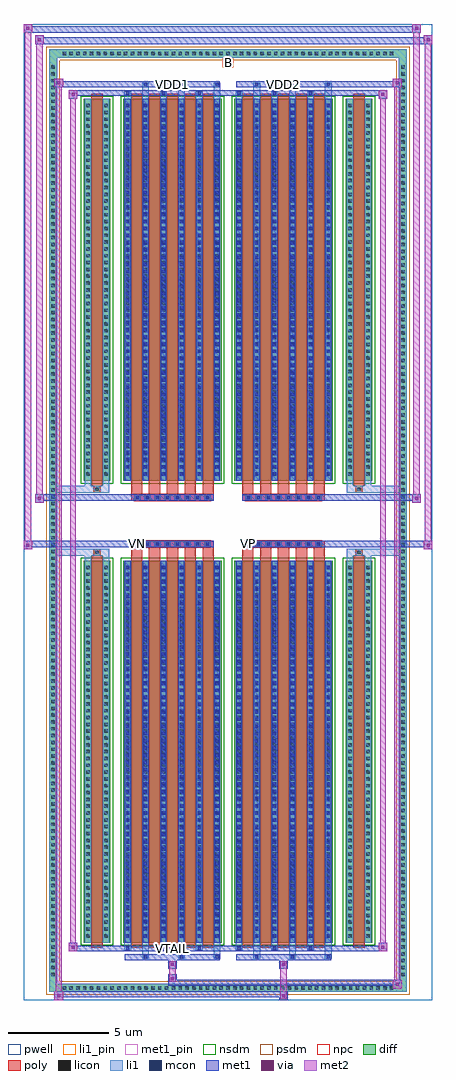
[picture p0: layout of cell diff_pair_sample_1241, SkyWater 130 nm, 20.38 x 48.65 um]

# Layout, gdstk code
import gdstk
lib = gdstk.Library(unit=1e-6, precision=5e-09)
def R(c, l, rs):  # rectangles x0, y0, x1, y1
    for r in rs: c.add(gdstk.rectangle(r[:2], r[2:], *l))
def A(c, l, x, y, w, h, nx, ny, dx, dy):  # array of equal rectangles
    R(c, l, [(x+i*dx, y+j*dy, x+i*dx+w, y+j*dy+h) for i in range(nx) for j in range(ny)])
def P(c, l, *ps):  # polygons
    for p in ps: c.add(gdstk.Polygon(p, *l))
pwell = (64, 44)
diff = (65, 20)
poly = (66, 20)
licon = (66, 44)
li1_pin = (67, 16)
li1 = (67, 20)
mcon = (67, 44)
met1_pin = (68, 16)
met1 = (68, 20)
via = (68, 44)
met2 = (69, 20)
nsdm = (93, 44)
psdm = (94, 20)
npc = (95, 20)

diff_pair_sample_1241 = lib.new_cell('diff_pair_sample_1241')
R(diff_pair_sample_1241, pwell, [(-10.19,-23.89,10.19,24.76), (-7.51,-22.08,-0.01,-0.8), (0.01,-22.08,7.51,-0.8), (-7.51,0.8,-0.01,22.08), (0.01,0.8,7.51,22.08)])
A(diff_pair_sample_1241, diff, -8.365, -23.49, 0.41, 0.41, 49, 2, 0.34, 46.57)
A(diff_pair_sample_1241, diff, -8.92, -22.815, 0.41, 0.41, 1, 134, 0, 0.34)
A(diff_pair_sample_1241, diff, 8.51, -22.815, 0.41, 0.41, 1, 134, 0, 0.34)
R(diff_pair_sample_1241, diff, [(-8.365,-23.49,8.365,-23.08), (-8.92,-22.815,-8.51,22.815), (8.51,-22.815,8.92,22.815), (-7.2,-21.035,-5.86,-1.985), (-5.22,-21.035,-0.32,-1.985), (0.32,-21.035,5.22,-1.985), (5.86,-21.035,7.2,-1.985), (-7.2,1.985,-5.86,21.035), (-5.22,1.985,-0.32,21.035), (0.32,1.985,5.22,21.035), (5.86,1.985,7.2,21.035), (-8.365,23.08,8.365,23.49)])
P(diff_pair_sample_1241, diff, [(8.92,23.49),(-8.92,23.49),(-8.92,-23.08),(-8.51,-23.08),(-8.51,23.08),(8.51,23.08),(8.51,-23.08),(-8.51,-23.08),(-8.92,-23.08),(-8.92,-23.49),(8.92,-23.49)])
A(diff_pair_sample_1241, poly, -4.83, -21.285, 0.56, 19.55, 5, 2, 0.89, 23.02)
A(diff_pair_sample_1241, poly, 0.71, -21.285, 0.56, 19.55, 5, 2, 0.89, 23.02)
A(diff_pair_sample_1241, poly, -4.83, -1.735, 0.56, 0.405, 5, 2, 0.89, 3.065)
A(diff_pair_sample_1241, poly, 0.71, -1.735, 0.56, 0.405, 5, 2, 0.89, 3.065)
A(diff_pair_sample_1241, poly, -4.685, -1.33, 0.33, 0.33, 8, 2, 0.5, 2.33)
A(diff_pair_sample_1241, poly, 0.855, -1.33, 0.33, 0.33, 8, 2, 0.5, 2.33)
R(diff_pair_sample_1241, poly, [(-6.81,-21.285,-6.25,-1.735), (6.25,-21.285,6.81,-1.735), (-6.695,-1.735,-6.365,-1.405), (-6.695,-1.735,-6.365,-1.405), (6.365,-1.735,6.695,-1.405), (6.365,-1.735,6.695,-1.405), (-4.83,-1.33,-0.71,-1), (0.71,-1.33,4.83,-1), (-4.83,1,-0.71,1.33), (0.71,1,4.83,1.33), (-6.695,1.405,-6.365,1.735), (-6.695,1.405,-6.365,1.735), (6.365,1.405,6.695,1.735), (6.365,1.405,6.695,1.735), (-6.81,1.735,-6.25,21.285), (6.25,1.735,6.81,21.285)])
A(diff_pair_sample_1241, licon, -8.245, -23.37, 0.17, 0.17, 49, 2, 0.34, 46.57)
A(diff_pair_sample_1241, licon, -8.8, -22.695, 0.17, 0.17, 1, 134, 0, 0.34)
A(diff_pair_sample_1241, licon, 8.63, -22.695, 0.17, 0.17, 1, 134, 0, 0.34)
A(diff_pair_sample_1241, licon, -7.06, -20.775, 0.17, 0.17, 1, 55, 0, 0.34)
A(diff_pair_sample_1241, licon, -6.17, -20.775, 0.17, 0.17, 1, 55, 0, 0.34)
A(diff_pair_sample_1241, licon, -5.08, -20.775, 0.17, 0.17, 6, 55, 0.89, 0.34)
A(diff_pair_sample_1241, licon, 0.46, -20.775, 0.17, 0.17, 6, 55, 0.89, 0.34)
A(diff_pair_sample_1241, licon, 6, -20.775, 0.17, 0.17, 1, 55, 0, 0.34)
A(diff_pair_sample_1241, licon, 6.89, -20.775, 0.17, 0.17, 1, 55, 0, 0.34)
A(diff_pair_sample_1241, licon, -4.605, -1.25, 0.17, 0.17, 8, 2, 0.5, 2.33)
A(diff_pair_sample_1241, licon, 0.935, -1.25, 0.17, 0.17, 8, 2, 0.5, 2.33)
A(diff_pair_sample_1241, licon, -7.06, 2.245, 0.17, 0.17, 1, 55, 0, 0.34)
A(diff_pair_sample_1241, licon, -6.17, 2.245, 0.17, 0.17, 1, 55, 0, 0.34)
A(diff_pair_sample_1241, licon, -5.08, 2.245, 0.17, 0.17, 6, 55, 0.89, 0.34)
A(diff_pair_sample_1241, licon, 0.46, 2.245, 0.17, 0.17, 6, 55, 0.89, 0.34)
A(diff_pair_sample_1241, licon, 6, 2.245, 0.17, 0.17, 1, 55, 0, 0.34)
A(diff_pair_sample_1241, licon, 6.89, 2.245, 0.17, 0.17, 1, 55, 0, 0.34)
R(diff_pair_sample_1241, licon, [(-6.615,-1.655,-6.445,-1.485), (6.445,-1.655,6.615,-1.485), (-6.615,1.485,-6.445,1.655), (6.445,1.485,6.615,1.655)])
R(diff_pair_sample_1241, li1_pin, [(-0.25,22.58,0.25,23.08)])
A(diff_pair_sample_1241, li1, -8.325, -23.45, 0.33, 0.33, 49, 2, 0.34, 46.57)
A(diff_pair_sample_1241, li1, -8.88, -22.775, 0.33, 0.33, 1, 134, 0, 0.34)
A(diff_pair_sample_1241, li1, 8.55, -22.775, 0.33, 0.33, 1, 134, 0, 0.34)
A(diff_pair_sample_1241, li1, -4.27, -21.84, 0.33, 0.805, 3, 2, 1.78, 42.875)
A(diff_pair_sample_1241, li1, -4.19, -21.84, 0.17, 0.17, 3, 2, 1.78, 43.51)
A(diff_pair_sample_1241, li1, 1.27, -21.84, 0.33, 0.805, 3, 2, 1.78, 42.875)
A(diff_pair_sample_1241, li1, 1.35, -21.84, 0.17, 0.17, 3, 2, 1.78, 43.51)
A(diff_pair_sample_1241, li1, -5.16, -21.41, 0.33, 0.375, 3, 2, 1.78, 42.445)
A(diff_pair_sample_1241, li1, -5.08, -21.41, 0.17, 0.17, 3, 2, 1.78, 42.65)
A(diff_pair_sample_1241, li1, 0.38, -21.41, 0.33, 0.375, 3, 2, 1.78, 42.445)
A(diff_pair_sample_1241, li1, 0.46, -21.41, 0.17, 0.17, 3, 2, 1.78, 42.65)
A(diff_pair_sample_1241, li1, -5.16, -21.035, 0.33, 19.05, 6, 2, 0.89, 23.02)
A(diff_pair_sample_1241, li1, 0.38, -21.035, 0.33, 19.05, 6, 2, 0.89, 23.02)
A(diff_pair_sample_1241, li1, -7.14, -20.855, 0.33, 0.33, 1, 55, 0, 0.34)
A(diff_pair_sample_1241, li1, -6.25, -20.855, 0.33, 0.33, 1, 55, 0, 0.34)
A(diff_pair_sample_1241, li1, -5.16, -20.855, 0.33, 0.33, 6, 55, 0.89, 0.34)
A(diff_pair_sample_1241, li1, 0.38, -20.855, 0.33, 0.33, 6, 55, 0.89, 0.34)
A(diff_pair_sample_1241, li1, 5.92, -20.855, 0.33, 0.33, 1, 55, 0, 0.34)
A(diff_pair_sample_1241, li1, 6.81, -20.855, 0.33, 0.33, 1, 55, 0, 0.34)
A(diff_pair_sample_1241, li1, -5.08, -20.775, 0.17, 0.17, 6, 52, 0.89, 0.36)
A(diff_pair_sample_1241, li1, -5.08, -20.775, 0.17, 18.53, 6, 2, 0.89, 23.02)
A(diff_pair_sample_1241, li1, 0.46, -20.775, 0.17, 0.17, 6, 52, 0.89, 0.36)
A(diff_pair_sample_1241, li1, 0.46, -20.775, 0.17, 18.53, 6, 2, 0.89, 23.02)
A(diff_pair_sample_1241, li1, -4.685, -1.33, 0.33, 0.33, 8, 2, 0.5, 2.33)
A(diff_pair_sample_1241, li1, 0.855, -1.33, 0.33, 0.33, 8, 2, 0.5, 2.33)
A(diff_pair_sample_1241, li1, -7.14, 2.165, 0.33, 0.33, 1, 55, 0, 0.34)
A(diff_pair_sample_1241, li1, -6.25, 2.165, 0.33, 0.33, 1, 55, 0, 0.34)
A(diff_pair_sample_1241, li1, -5.16, 2.165, 0.33, 0.33, 6, 55, 0.89, 0.34)
A(diff_pair_sample_1241, li1, 0.38, 2.165, 0.33, 0.33, 6, 55, 0.89, 0.34)
A(diff_pair_sample_1241, li1, 5.92, 2.165, 0.33, 0.33, 1, 55, 0, 0.34)
A(diff_pair_sample_1241, li1, 6.81, 2.165, 0.33, 0.33, 1, 55, 0, 0.34)
A(diff_pair_sample_1241, li1, -5.08, 2.245, 0.17, 0.17, 6, 52, 0.89, 0.36)
A(diff_pair_sample_1241, li1, 0.46, 2.245, 0.17, 0.17, 6, 52, 0.89, 0.36)
R(diff_pair_sample_1241, li1, [(-8.92,-23.49,-8.51,-23.08), (-8.92,-23.49,-8.51,-23.08), (-8.51,-23.49,8.51,-23.08), (8.51,-23.49,8.92,-23.08), (8.51,-23.49,8.92,-23.08), (-8.92,-23.08,-8.51,23.08), (8.51,-23.08,8.92,23.08), (-7.14,-21.035,-6.81,-1.985), (-6.25,-21.035,-5.92,-1.985), (5.92,-21.035,6.25,-1.985), (6.81,-21.035,7.14,-1.985), (-7.14,-1.985,-6.81,-1.405), (-6.25,-1.985,-5.92,-1.405), (5.92,-1.985,6.25,-1.405), (6.81,-1.985,7.14,-1.405), (-8.92,-1.735,-6.695,-1.405), (-7.14,-1.735,-6.695,-1.405), (-6.695,-1.735,-6.365,-1.405), (-6.365,-1.735,-5.92,-1.405), (5.92,-1.735,6.365,-1.405), (6.365,-1.735,6.695,-1.405), (6.365,-1.735,8.92,-1.405), (6.695,-1.735,7.14,-1.405), (-8.92,1.405,-6.695,1.735), (-7.14,1.405,-6.695,1.735), (-7.14,1.405,-6.81,1.985), (-6.695,1.405,-6.365,1.735), (-6.365,1.405,-5.92,1.735), (-6.25,1.405,-5.92,1.985), (5.92,1.405,6.365,1.735), (5.92,1.405,6.25,1.985), (6.365,1.405,6.695,1.735), (6.365,1.405,8.92,1.735), (6.695,1.405,7.14,1.735), (6.81,1.405,7.14,1.985), (-7.14,1.985,-6.81,21.035), (-6.25,1.985,-5.92,21.035), (5.92,1.985,6.25,21.035), (6.81,1.985,7.14,21.035), (-8.92,23.08,-8.51,23.49), (-8.92,23.08,-8.51,23.49), (-8.51,23.08,8.51,23.49), (8.51,23.08,8.92,23.49), (8.51,23.08,8.92,23.49)])
A(diff_pair_sample_1241, mcon, -4.19, -21.84, 0.17, 0.17, 3, 2, 1.78, 43.51)
A(diff_pair_sample_1241, mcon, 1.35, -21.84, 0.17, 0.17, 3, 2, 1.78, 43.51)
A(diff_pair_sample_1241, mcon, -5.08, -21.41, 0.17, 0.17, 3, 2, 1.78, 42.65)
A(diff_pair_sample_1241, mcon, 0.46, -21.41, 0.17, 0.17, 3, 2, 1.78, 42.65)
A(diff_pair_sample_1241, mcon, -5.08, -20.775, 0.17, 0.17, 6, 52, 0.89, 0.36)
A(diff_pair_sample_1241, mcon, 0.46, -20.775, 0.17, 0.17, 6, 52, 0.89, 0.36)
A(diff_pair_sample_1241, mcon, -4.605, -1.25, 0.17, 0.17, 8, 2, 0.5, 2.33)
A(diff_pair_sample_1241, mcon, 0.935, -1.25, 0.17, 0.17, 8, 2, 0.5, 2.33)
A(diff_pair_sample_1241, mcon, -5.08, 2.245, 0.17, 0.17, 6, 52, 0.89, 0.36)
A(diff_pair_sample_1241, mcon, 0.46, 2.245, 0.17, 0.17, 6, 52, 0.89, 0.36)
R(diff_pair_sample_1241, met1_pin, [(-2.905,-21.45,-2.635,-21.18), (-4.655,-1.29,-4.385,-1.02), (0.885,-1.29,1.155,-1.02), (-2.905,21.63,-2.635,21.9), (2.635,21.63,2.905,21.9)])
A(diff_pair_sample_1241, met1, -4.25, -21.9, 0.29, 0.29, 3, 2, 1.78, 43.51)
A(diff_pair_sample_1241, met1, 1.29, -21.9, 0.29, 0.29, 3, 2, 1.78, 43.51)
A(diff_pair_sample_1241, met1, -5.14, -21.47, 0.29, 0.29, 3, 2, 1.78, 42.65)
A(diff_pair_sample_1241, met1, 0.4, -21.47, 0.29, 0.29, 3, 2, 1.78, 42.65)
A(diff_pair_sample_1241, met1, -5.14, -21.035, 0.29, 19.05, 6, 2, 0.89, 23.02)
A(diff_pair_sample_1241, met1, 0.4, -21.035, 0.29, 19.05, 6, 2, 0.89, 23.02)
A(diff_pair_sample_1241, met1, -5.14, -20.835, 0.29, 0.29, 6, 52, 0.89, 0.36)
A(diff_pair_sample_1241, met1, 0.4, -20.835, 0.29, 0.29, 6, 52, 0.89, 0.36)
A(diff_pair_sample_1241, met1, -4.665, -1.31, 0.29, 0.29, 8, 2, 0.5, 2.33)
A(diff_pair_sample_1241, met1, 0.875, -1.31, 0.29, 0.29, 8, 2, 0.5, 2.33)
A(diff_pair_sample_1241, met1, -5.14, 2.185, 0.29, 0.29, 6, 52, 0.89, 0.36)
A(diff_pair_sample_1241, met1, 0.4, 2.185, 0.29, 0.29, 6, 52, 0.89, 0.36)
R(diff_pair_sample_1241, met1, [(-8.65,-23.89,-8.22,-23.46), (2.555,-23.89,2.985,-23.46), (-8.65,-23.75,2.985,-23.46), (8.22,-23.32,8.65,-22.89), (-2.985,-23.18,8.65,-22.89), (-2.985,-23.04,-2.555,-22.61), (-2.985,-22.33,-2.555,-21.9), (2.555,-22.33,2.985,-21.9), (-5.14,-21.9,-0.4,-21.61), (0.4,-21.9,5.14,-21.61), (-7.94,-21.47,-7.51,-21.04), (-7.94,-21.47,-5.14,-21.18), (-5.14,-21.47,-0.4,-21.18), (-0.4,-21.47,0.4,-21.18), (0.4,-21.47,5.14,-21.18), (5.14,-21.47,7.94,-21.18), (7.51,-21.47,7.94,-21.04), (-10.19,-1.43,-9.76,-1), (9.76,-1.43,10.19,-1), (-10.19,-1.33,-0.71,-1), (-4.83,-1.33,-0.71,-1), (0.71,-1.33,4.83,-1), (0.71,-1.33,10.19,-1), (-9.62,0.9,-9.19,1.33), (9.19,0.9,9.62,1.33), (-9.62,1,-4.83,1.33), (-4.83,1,-0.71,1.33), (0.71,1,4.83,1.33), (4.83,1,9.62,1.33), (-7.94,21.04,-7.51,21.47), (7.51,21.04,7.94,21.47), (-7.94,21.18,-5.14,21.47), (-5.14,21.18,-0.4,21.47), (-0.4,21.18,0.4,21.47), (0.4,21.18,5.14,21.47), (5.14,21.18,7.94,21.47), (-8.65,21.61,-8.22,22.04), (-8.65,21.61,-5.14,21.9), (-5.14,21.61,-0.4,21.9), (0.4,21.61,5.14,21.9), (5.14,21.61,8.65,21.9), (8.22,21.61,8.65,22.04), (-9.62,23.76,-9.19,24.19), (-9.62,23.76,-7.51,24.09), (-7.51,23.76,7.51,24.09), (7.51,23.76,10.19,24.09), (9.76,23.76,10.19,24.19), (-10.19,24.33,-9.76,24.76), (-10.19,24.33,-7.51,24.66), (-7.51,24.33,7.51,24.66), (7.51,24.33,9.62,24.66), (9.19,24.33,9.62,24.76)])
R(diff_pair_sample_1241, via, [(-8.51,-23.75,-8.36,-23.6), (2.695,-23.75,2.845,-23.6), (8.36,-23.18,8.51,-23.03), (-2.845,-22.9,-2.695,-22.75), (-2.845,-22.19,-2.695,-22.04), (2.695,-22.19,2.845,-22.04), (-7.8,-21.33,-7.65,-21.18), (7.65,-21.33,7.8,-21.18), (-10.05,-1.29,-9.9,-1.14), (9.9,-1.29,10.05,-1.14), (-9.48,1.04,-9.33,1.19), (9.33,1.04,9.48,1.19), (-7.8,21.18,-7.65,21.33), (7.65,21.18,7.8,21.33), (-8.51,21.75,-8.36,21.9), (8.36,21.75,8.51,21.9), (-9.48,23.9,-9.33,24.05), (9.9,23.9,10.05,24.05), (-10.05,24.47,-9.9,24.62), (9.33,24.47,9.48,24.62)])
R(diff_pair_sample_1241, met2, [(-8.65,-23.89,-8.22,-23.46), (-8.58,-23.89,-8.29,22.04), (-8.29,-23.89,-8.22,-23.46), (-8.6,-23.84,-8.27,-23.51), (2.605,-23.84,2.935,-23.51), (2.605,-23.51,2.935,-22.28), (8.22,-23.32,8.65,-22.89), (8.29,-23.32,8.58,22.04), (8.58,-23.32,8.65,-22.89), (8.27,-23.27,8.6,-22.94), (-2.935,-22.99,-2.605,-22.66), (-2.935,-22.66,-2.605,-22.28), (-2.935,-22.28,-2.605,-21.95), (2.605,-22.28,2.935,-21.95), (-7.94,-21.47,-7.51,-21.04), (-7.87,-21.47,-7.58,21.47), (-7.58,-21.47,-7.51,-21.04), (7.51,-21.47,7.94,-21.04), (7.58,-21.47,7.87,21.47), (7.87,-21.47,7.94,-21.04), (-7.89,-21.42,-7.56,-21.09), (7.56,-21.42,7.89,-21.09), (-10.19,-1.43,-9.76,-1), (-10.14,-1.43,-9.81,24.76), (-9.81,-1.43,-9.76,-1), (9.76,-1.43,10.19,-1), (9.81,-1.43,10.14,24.19), (10.14,-1.43,10.19,-1), (-10.14,-1.38,-9.81,-1.05), (9.81,-1.38,10.14,-1.05), (-9.62,0.9,-9.19,1.33), (-9.57,0.9,-9.24,24.19), (-9.24,0.9,-9.19,1.33), (9.19,0.9,9.62,1.33), (9.24,0.9,9.57,24.76), (9.57,0.9,9.62,1.33), (-9.57,0.95,-9.24,1.28), (9.24,0.95,9.57,1.28), (-7.94,21.04,-7.51,21.47), (-7.58,21.04,-7.51,21.47), (7.51,21.04,7.94,21.47), (7.87,21.04,7.94,21.47), (-7.89,21.09,-7.56,21.42), (7.56,21.09,7.89,21.42), (-8.65,21.61,-8.22,22.04), (-8.29,21.61,-8.22,22.04), (8.22,21.61,8.65,22.04), (8.58,21.61,8.65,22.04), (-8.6,21.66,-8.27,21.99), (8.27,21.66,8.6,21.99), (-9.62,23.76,-9.19,24.19), (-9.24,23.76,-9.19,24.19), (9.76,23.76,10.19,24.19), (10.14,23.76,10.19,24.19), (-9.57,23.81,-9.24,24.14), (9.81,23.81,10.14,24.14), (-10.19,24.33,-9.76,24.76), (-9.81,24.33,-9.76,24.76), (9.19,24.33,9.62,24.76), (9.57,24.33,9.62,24.76), (-10.14,24.38,-9.81,24.71), (9.24,24.38,9.57,24.71)])
R(diff_pair_sample_1241, nsdm, [(-7.33,-21.165,-5.73,-1.855), (-5.35,-21.165,-0.19,-1.855), (0.19,-21.165,5.35,-1.855), (5.73,-21.165,7.33,-1.855), (-7.33,1.855,-5.73,21.165), (-5.35,1.855,-0.19,21.165), (0.19,1.855,5.35,21.165), (5.73,1.855,7.33,21.165)])
P(diff_pair_sample_1241, psdm, [(9.05,23.62),(-9.05,23.62),(-9.05,-22.95),(-8.38,-22.95),(-8.38,22.95),(8.38,22.95),(8.38,-22.95),(-8.38,-22.95),(-9.05,-22.95),(-9.05,-23.62),(9.05,-23.62)])
A(diff_pair_sample_1241, npc, -4.705, -1.35, 0.37, 0.37, 8, 2, 0.5, 2.33)
A(diff_pair_sample_1241, npc, 0.835, -1.35, 0.37, 0.37, 8, 2, 0.5, 2.33)
R(diff_pair_sample_1241, npc, [(-6.715,-1.755,-6.345,-1.385), (6.345,-1.755,6.715,-1.385), (-4.705,-1.35,-3.835,-0.98), (-4.705,-1.35,-3.835,-0.98), (-4.205,-1.35,-3.335,-0.98), (-4.205,-1.35,-3.335,-0.98), (-3.705,-1.35,-2.835,-0.98), (-3.705,-1.35,-2.835,-0.98), (-3.205,-1.35,-2.335,-0.98), (-3.205,-1.35,-2.335,-0.98), (-2.705,-1.35,-1.835,-0.98), (-2.705,-1.35,-1.835,-0.98), (-2.205,-1.35,-1.335,-0.98), (-2.205,-1.35,-1.335,-0.98), (-1.705,-1.35,-0.835,-0.98), (-1.705,-1.35,-0.835,-0.98), (0.835,-1.35,1.705,-0.98), (0.835,-1.35,1.705,-0.98), (1.335,-1.35,2.205,-0.98), (1.335,-1.35,2.205,-0.98), (1.835,-1.35,2.705,-0.98), (1.835,-1.35,2.705,-0.98), (2.335,-1.35,3.205,-0.98), (2.335,-1.35,3.205,-0.98), (2.835,-1.35,3.705,-0.98), (2.835,-1.35,3.705,-0.98), (3.335,-1.35,4.205,-0.98), (3.335,-1.35,4.205,-0.98), (3.835,-1.35,4.705,-0.98), (3.835,-1.35,4.705,-0.98), (-4.705,0.98,-3.835,1.35), (-4.705,0.98,-3.835,1.35), (-4.205,0.98,-3.335,1.35), (-4.205,0.98,-3.335,1.35), (-3.705,0.98,-2.835,1.35), (-3.705,0.98,-2.835,1.35), (-3.205,0.98,-2.335,1.35), (-3.205,0.98,-2.335,1.35), (-2.705,0.98,-1.835,1.35), (-2.705,0.98,-1.835,1.35), (-2.205,0.98,-1.335,1.35), (-2.205,0.98,-1.335,1.35), (-1.705,0.98,-0.835,1.35), (-1.705,0.98,-0.835,1.35), (0.835,0.98,1.705,1.35), (0.835,0.98,1.705,1.35), (1.335,0.98,2.205,1.35), (1.335,0.98,2.205,1.35), (1.835,0.98,2.705,1.35), (1.835,0.98,2.705,1.35), (2.335,0.98,3.205,1.35), (2.335,0.98,3.205,1.35), (2.835,0.98,3.705,1.35), (2.835,0.98,3.705,1.35), (3.335,0.98,4.205,1.35), (3.335,0.98,4.205,1.35), (3.835,0.98,4.705,1.35), (3.835,0.98,4.705,1.35), (-6.715,1.385,-6.345,1.755), (6.345,1.385,6.715,1.755)])
diff_pair_sample_1241.add(gdstk.Label('VTAIL', (-2.77,-21.315), layer=68, texttype=5))
diff_pair_sample_1241.add(gdstk.Label('VN', (-4.52,-1.155), layer=68, texttype=5))
diff_pair_sample_1241.add(gdstk.Label('VP', (1.02,-1.155), layer=68, texttype=5))
diff_pair_sample_1241.add(gdstk.Label('B', (0,22.83), layer=67, texttype=5))
diff_pair_sample_1241.add(gdstk.Label('VDD2', (2.77,21.765), layer=68, texttype=5))
diff_pair_sample_1241.add(gdstk.Label('VDD1', (-2.77,21.765), layer=68, texttype=5))

lib.write_gds('diff_pair_sample_1241.gds')
